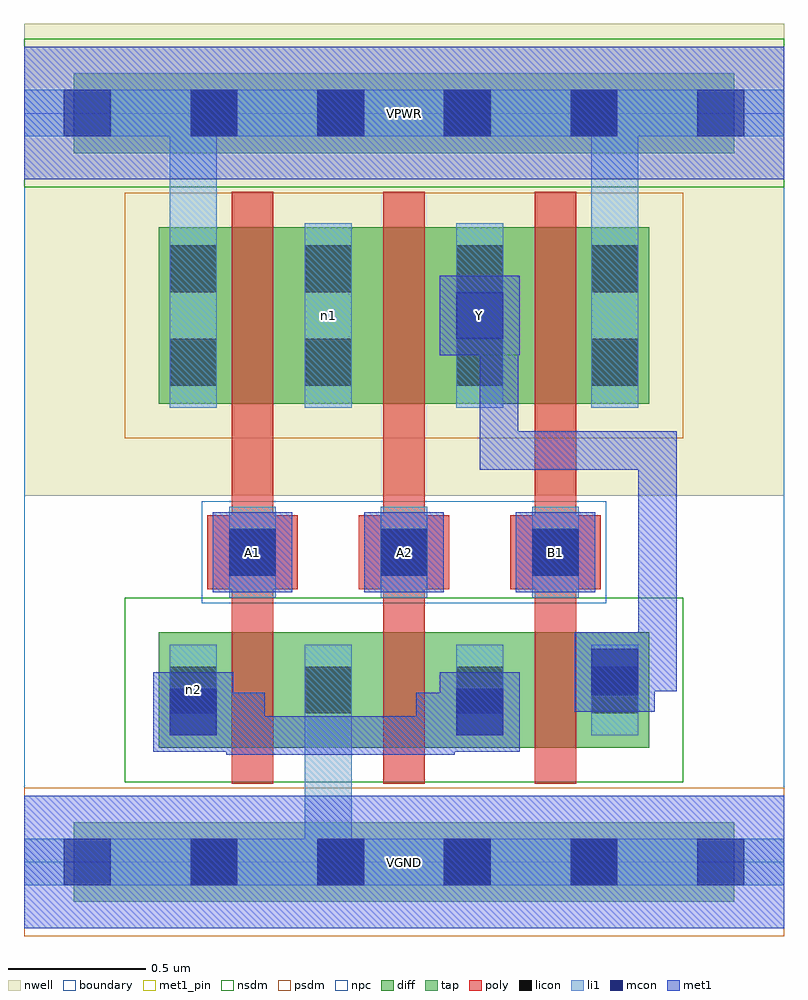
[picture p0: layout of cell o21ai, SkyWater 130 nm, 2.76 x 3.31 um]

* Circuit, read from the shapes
.subckt o21ai A1 A2 B1 VGND VPWR Y n1 n2
XM1 VGND A1 n2 VGND sky130_fd_pr__nfet_01v8 w=0.42 l=0.15
XM2 n2 A2 VGND VGND sky130_fd_pr__nfet_01v8 w=0.42 l=0.15
XM3 Y B1 n2 VGND sky130_fd_pr__nfet_01v8 w=0.42 l=0.15
XM4 n1 A1 VPWR VPWR sky130_fd_pr__pfet_01v8 w=0.64 l=0.15
XM5 Y A2 n1 VPWR sky130_fd_pr__pfet_01v8 w=0.64 l=0.15
XM6 VPWR B1 Y VPWR sky130_fd_pr__pfet_01v8 w=0.64 l=0.15
.ends

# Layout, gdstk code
import gdstk
lib = gdstk.Library(unit=1e-6, precision=1e-09)
def R(c, l, rs):  # rectangles x0, y0, x1, y1
    for r in rs: c.add(gdstk.rectangle(r[:2], r[2:], *l))
def A(c, l, x, y, w, h, nx, ny, dx, dy):  # array of equal rectangles
    R(c, l, [(x+i*dx, y+j*dy, x+i*dx+w, y+j*dy+h) for i in range(nx) for j in range(ny)])
nwell = (64, 20)
diff = (65, 20)
tap = (65, 44)
poly = (66, 20)
licon = (66, 44)
li1 = (67, 20)
mcon = (67, 44)
met1_pin = (68, 16)
met1 = (68, 20)
nsdm = (93, 44)
psdm = (94, 20)
npc = (95, 20)
boundary = (235, 4)

o21ai = lib.new_cell('o21ai')
R(o21ai, nwell, [(0,1.33,2.76,3.045)])
R(o21ai, diff, [(0.49,0.415,2.27,0.835), (0.49,1.665,2.27,2.305)])
R(o21ai, tap, [(0.18,-0.145,2.58,0.145), (0.18,2.575,2.58,2.865)])
A(o21ai, poly, 0.755, 0.285, 0.15, 2.15, 3, 1, 0.55, 0)
A(o21ai, poly, 0.665, 0.99, 0.33, 0.27, 3, 1, 0.55, 0)
A(o21ai, licon, 0.605, -0.085, 0.17, 0.17, 4, 2, 0.46, 2.72)
A(o21ai, licon, 0.745, 1.04, 0.17, 0.17, 3, 1, 0.55, 0)
R(o21ai, licon, [(0.53,0.54,0.7,0.71), (1.02,0.54,1.19,0.71), (1.57,0.54,1.74,0.71), (2.06,0.54,2.23,0.71), (0.53,1.73,0.7,1.9), (1.02,1.73,1.19,1.9), (1.57,1.73,1.74,1.9), (2.06,1.73,2.23,1.9), (0.53,2.07,0.7,2.24), (1.02,2.07,1.19,2.24), (1.57,2.07,1.74,2.24), (2.06,2.07,2.23,2.24)])
A(o21ai, li1, 0.745, 0.96, 0.17, 0.33, 3, 1, 0.55, 0)
R(o21ai, li1, [(0,-0.085,2.76,0.085), (1.02,-0.085,1.19,0.79), (0.53,0.46,0.7,0.79), (1.02,0.46,1.19,0.79), (1.57,0.46,1.74,0.79), (2.06,0.46,2.23,0.79), (0.53,1.65,0.7,2.32), (0.53,1.65,0.7,2.805), (1.02,1.65,1.19,2.32), (1.57,1.65,1.74,2.32), (2.06,1.65,2.23,2.32), (2.06,1.65,2.23,2.805), (0,2.635,2.76,2.805)])
A(o21ai, mcon, 0.145, -0.085, 0.17, 0.17, 6, 2, 0.46, 2.72)
A(o21ai, mcon, 0.745, 1.04, 0.17, 0.17, 3, 1, 0.55, 0)
R(o21ai, mcon, [(0.53,0.46,0.7,0.63), (1.57,0.46,1.74,0.63), (2.06,0.605,2.23,0.775), (1.57,1.9,1.74,2.07)])
A(o21ai, met1_pin, 0.685, 0.98, 0.29, 0.29, 3, 1, 0.55, 0)
R(o21ai, met1_pin, [(0,-0.24,2.76,0.24), (1.51,1.84,1.8,2.13), (0,2.48,2.76,2.96)])
A(o21ai, met1, 0.685, 0.98, 0.29, 0.29, 3, 1, 0.55, 0)
R(o21ai, met1, [(0,-0.24,2.76,0.24), (0.735,0.39,0.875,0.615), (0.735,0.39,1.565,0.53), (1.425,0.39,1.565,0.615), (0.47,0.4,0.76,0.69), (1.51,0.4,1.8,0.69), (0.545,0.475,0.875,0.615), (1.425,0.475,1.725,0.615), (2,0.545,2.29,0.835), (2.075,0.62,2.37,0.76), (2.23,0.62,2.37,1.565), (1.655,1.425,1.795,2.025), (1.655,1.425,2.37,1.565), (1.51,1.84,1.8,2.13), (1.655,1.885,1.795,2.025), (0,2.48,2.76,2.96)])
R(o21ai, nsdm, [(0.365,0.29,2.395,0.96), (0,2.45,2.76,2.99)])
R(o21ai, psdm, [(0,-0.27,2.76,0.27), (0.365,1.54,2.395,2.43)])
R(o21ai, npc, [(0.645,0.94,2.115,1.31)])
R(o21ai, boundary, [(0,0,2.76,2.72)])
o21ai.add(gdstk.Label('n2', (0.615,0.625), layer=67, texttype=5))
o21ai.add(gdstk.Label('n1', (1.105,1.985), layer=67, texttype=5))
o21ai.add(gdstk.Label('A1', (0.83,1.125), layer=68, texttype=5))
o21ai.add(gdstk.Label('A2', (1.38,1.125), layer=68, texttype=5))
o21ai.add(gdstk.Label('B1', (1.93,1.125), layer=68, texttype=5))
o21ai.add(gdstk.Label('Y', (1.655,1.985), layer=68, texttype=5))
o21ai.add(gdstk.Label('VPWR', (1.38,2.72), layer=68, texttype=5))
o21ai.add(gdstk.Label('VGND', (1.38,0), layer=68, texttype=5))
o21ai.add(gdstk.Label('A1', (0.83,1.125), layer=68, texttype=16))
o21ai.add(gdstk.Label('A2', (1.38,1.125), layer=68, texttype=16))
o21ai.add(gdstk.Label('B1', (1.93,1.125), layer=68, texttype=16))
o21ai.add(gdstk.Label('Y', (1.655,1.985), layer=68, texttype=16))
o21ai.add(gdstk.Label('VPWR', (1.38,2.72), layer=68, texttype=16))
o21ai.add(gdstk.Label('VGND', (1.38,0), layer=68, texttype=16))

lib.write_gds('o21ai.gds')
